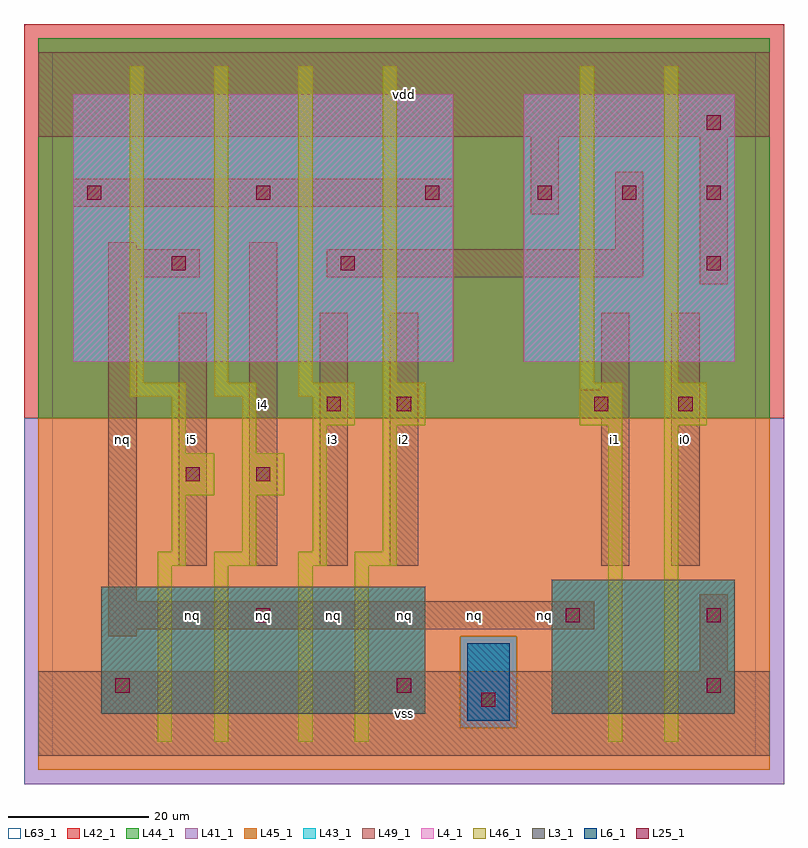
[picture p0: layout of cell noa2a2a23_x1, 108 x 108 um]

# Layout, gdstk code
import gdstk
lib = gdstk.Library(unit=1e-6, precision=1e-09)
def R(c, l, rs):  # rectangles x0, y0, x1, y1
    for r in rs: c.add(gdstk.rectangle(r[:2], r[2:], *l))
def A(c, l, x, y, w, h, nx, ny, dx, dy):  # array of equal rectangles
    R(c, l, [(x+i*dx, y+j*dy, x+i*dx+w, y+j*dy+h) for i in range(nx) for j in range(ny)])
L3_1 = (3, 1)
L4_1 = (4, 1)
L6_1 = (6, 1)
L25_1 = (25, 1)
L41_1 = (41, 1)
L42_1 = (42, 1)
L43_1 = (43, 1)
L44_1 = (44, 1)
L45_1 = (45, 1)
L46_1 = (46, 1)
L49_1 = (49, 1)
L63_1 = (63, 1)

noa2a2a23_x1 = lib.new_cell('noa2a2a23_x1')
R(noa2a2a23_x1, L3_1, [(7,6,53,24), (71,6,97,25)])
R(noa2a2a23_x1, L4_1, [(3,56,57,94), (67,56,97,94)])
R(noa2a2a23_x1, L6_1, [(59,5,65,16), (59,5,65,16)])
A(noa2a2a23_x1, L25_1, 5, 79, 2, 2, 3, 1, 24, 0)
A(noa2a2a23_x1, L25_1, 69, 79, 2, 2, 3, 1, 12, 0)
R(noa2a2a23_x1, L25_1, [(61,7,63,9), (9,9,11,11), (49,9,51,11), (93,9,95,11), (29,19,31,21), (73,19,75,21), (93,19,95,21), (19,39,21,41), (29,39,31,41), (39,49,41,51), (49,49,51,51), (77,49,79,51), (89,49,91,51), (17,69,19,71), (41,69,43,71), (93,69,95,71), (93,89,95,91)])
R(noa2a2a23_x1, L41_1, [(-4,-4,104,48)])
R(noa2a2a23_x1, L42_1, [(-4,48,104,104)])
R(noa2a2a23_x1, L43_1, [(59,5,65,16), (7,6,53,24), (71,6,97,25), (3,56,57,94), (67,56,97,94)])
R(noa2a2a23_x1, L44_1, [(58,4,66,17), (-2,48,102,102)])
R(noa2a2a23_x1, L45_1, [(-2,-2,102,4), (-2,4,58,17), (66,4,102,17), (-2,17,102,48)])
A(noa2a2a23_x1, L46_1, 11, 53, 2, 45, 4, 1, 12, 0)
R(noa2a2a23_x1, L46_1, [(15,2,17,27), (23,2,25,27), (35,2,37,27), (43,2,45,27), (79,2,81,47), (87,2,89,47), (15,27,19,29), (23,27,29,29), (35,27,39,29), (43,27,49,29), (17,29,19,37), (27,29,29,37), (37,29,39,47), (47,29,49,47), (17,37,23,43), (27,37,33,43), (17,43,19,51), (27,43,29,51), (37,47,43,51), (47,47,53,53), (75,47,81,53), (87,47,93,53), (11,51,19,53), (23,51,29,53), (35,51,43,53), (75,53,77,98), (87,53,89,98)])
R(noa2a2a23_x1, L49_1, [(-2,0,102,12), (92,12,96,23), (8,17,12,18), (8,18,77,22), (8,22,12,68), (18,27,22,63), (28,27,32,73), (38,27,42,63), (48,27,52,63), (78,27,82,48), (88,27,92,63), (75,48,82,52), (78,52,82,63), (92,67,96,88), (8,68,21,72), (39,68,84,72), (8,72,12,73), (80,72,84,83), (68,77,72,88), (3,78,57,82), (-2,88,102,100)])
R(noa2a2a23_x1, L63_1, [(0,0,100,100)])
noa2a2a23_x1.add(gdstk.Label('nq', (10,45), layer=49, texttype=1))
noa2a2a23_x1.add(gdstk.Label('nq', (30,20), layer=49, texttype=1))
noa2a2a23_x1.add(gdstk.Label('nq', (20,20), layer=49, texttype=1))
noa2a2a23_x1.add(gdstk.Label('i5', (20,45), layer=49, texttype=1))
noa2a2a23_x1.add(gdstk.Label('i4', (30,50), layer=49, texttype=1))
noa2a2a23_x1.add(gdstk.Label('vss', (50,6), layer=49, texttype=1))
noa2a2a23_x1.add(gdstk.Label('nq', (50,20), layer=49, texttype=1))
noa2a2a23_x1.add(gdstk.Label('nq', (40,20), layer=49, texttype=1))
noa2a2a23_x1.add(gdstk.Label('i3', (40,45), layer=49, texttype=1))
noa2a2a23_x1.add(gdstk.Label('i2', (50,45), layer=49, texttype=1))
noa2a2a23_x1.add(gdstk.Label('vdd', (50,94), layer=49, texttype=1))
noa2a2a23_x1.add(gdstk.Label('nq', (70,20), layer=49, texttype=1))
noa2a2a23_x1.add(gdstk.Label('nq', (60,20), layer=49, texttype=1))
noa2a2a23_x1.add(gdstk.Label('i1', (80,45), layer=49, texttype=1))
noa2a2a23_x1.add(gdstk.Label('i0', (90,45), layer=49, texttype=1))

lib.write_gds('noa2a2a23_x1.gds')
